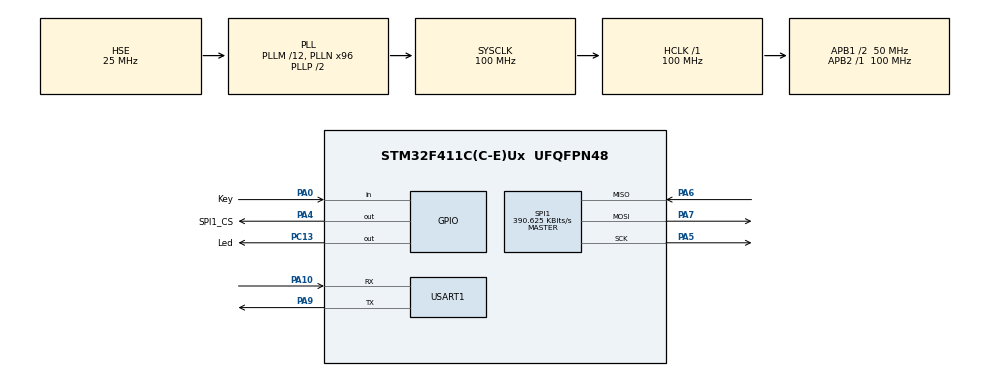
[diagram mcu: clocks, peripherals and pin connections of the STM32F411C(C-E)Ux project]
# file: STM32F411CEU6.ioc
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FREERTOS.Tasks01=defaultTask,24,128,StartDefaultTask,Default,NULL,Dynamic,NULL,NULL
Mcu.Family=STM32F4
Mcu.Name=STM32F411C(C-E)Ux
Mcu.Package=UFQFPN48
NVIC.PriorityGroup=NVIC_PRIORITYGROUP_4
NVIC.TIM1_UP_TIM10_IRQn=true\:15\:0\:false\:false\:true\:false\:false\:true\:true
NVIC.TimeBase=TIM1_UP_TIM10_IRQn
NVIC.TimeBaseIP=TIM1
PA0-WKUP.GPIO_Label=Key
PA0-WKUP.GPIO_PuPd=GPIO_PULLUP
PA0-WKUP.Signal=GPIO_Input
PA10.Mode=Asynchronous
PA10.Signal=USART1_RX
PA13.Mode=Serial_Wire
PA13.Signal=SYS_JTMS-SWDIO
PA14.Mode=Serial_Wire
PA14.Signal=SYS_JTCK-SWCLK
PA4.GPIO_Label=SPI1_CS
PA4.PinState=GPIO_PIN_SET
PA4.Signal=GPIO_Output
PA5.Mode=Full_Duplex_Master
PA5.Signal=SPI1_SCK
PA6.Mode=Full_Duplex_Master
PA6.Signal=SPI1_MISO
PA7.Mode=Full_Duplex_Master
PA7.Signal=SPI1_MOSI
PA9.Mode=Asynchronous
PA9.Signal=USART1_TX
PC13-ANTI_TAMP.GPIO_Label=Led
PC13-ANTI_TAMP.Signal=GPIO_Output
PC14-OSC32_IN.Mode=LSE-External-Oscillator
PC14-OSC32_IN.Signal=RCC_OSC32_IN
PC15-OSC32_OUT.Mode=LSE-External-Oscillator
PC15-OSC32_OUT.Signal=RCC_OSC32_OUT
PH0\ -\ OSC_IN.Mode=HSE-External-Oscillator
PH0\ -\ OSC_IN.Signal=RCC_OSC_IN
PH1\ -\ OSC_OUT.Mode=HSE-External-Oscillator
PH1\ -\ OSC_OUT.Signal=RCC_OSC_OUT
ProjectManager.HeapSize=0x200
ProjectManager.StackSize=0x400
ProjectManager.TargetToolchain=MDK-ARM V5.32
RCC.48MHZClocksFreq_Value=50000000
RCC.AHBFreq_Value=100000000
RCC.APB1CLKDivider=RCC_HCLK_DIV2
RCC.APB1Freq_Value=50000000
RCC.APB1TimFreq_Value=100000000
RCC.APB2Freq_Value=100000000
RCC.APB2TimFreq_Value=100000000
RCC.CortexFreq_Value=100000000
RCC.HCLKFreq_Value=100000000
RCC.HSE_VALUE=25000000
RCC.HSI_VALUE=16000000
RCC.PLLM=12
RCC.PLLN=96
RCC.PLLSourceVirtual=RCC_PLLSOURCE_HSE
RCC.SYSCLKFreq_VALUE=100000000
RCC.SYSCLKSource=RCC_SYSCLKSOURCE_PLLCLK
RCC.VCOOutputFreq_Value=200000000
SPI1.BaudRatePrescaler=SPI_BAUDRATEPRESCALER_256
SPI1.CalculateBaudRate=390.625 KBits/s
SPI1.Direction=SPI_DIRECTION_2LINES
SPI1.Mode=SPI_MODE_MASTER
SPI1.VirtualType=VM_MASTER
USART1.VirtualMode=VM_ASYNC
VP_FREERTOS_VS_CMSIS_V2.Mode=CMSIS_V2
VP_SYS_VS_tim1.Mode=TIM1
board=custom

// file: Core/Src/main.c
/* USER CODE BEGIN Header */
/**
  ******************************************************************************
  * @file           : main.c
  * @brief          : Main program body
  ******************************************************************************
  * @attention
  *
  * Copyright (c) 2026 STMicroelectronics.
  * All rights reserved.
  *
  * This software is licensed under terms that can be found in the LICENSE file
  * in the root directory of this software component.
  * If no LICENSE file comes with this software, it is provided AS-IS.
  *
  ******************************************************************************
  */
/* USER CODE END Header */
#include "main.h"
#include "cmsis_os.h"
#include "spi.h"
#include "usart.h"
#include "gpio.h"

/* USER CODE BEGIN Includes */
#include <stdio.h>

/* USER CODE END Includes */

void SystemClock_Config(void);
void MX_FREERTOS_Init(void);

/* USER CODE BEGIN 0 */

#define TAG "main"

/* USER CODE END 0 */

int main(void)
{

  /* USER CODE BEGIN 1 */
    __enable_irq();
  /* USER CODE END 1 */

  /* MCU Configuration--------------------------------------------------------*/

  /* Reset of all peripherals, Initializes the Flash interface and the Systick. */
  HAL_Init();

  /* Configure the system clock */
  SystemClock_Config();

  /* USER CODE BEGIN SysInit */
    debug_init();
    W25Qx_Init();
  /* USER CODE END SysInit */

  /* Initialize all configured peripherals */
  MX_GPIO_Init();
  MX_USART1_UART_Init();
  MX_SPI1_Init();

  /* Init scheduler */
  osKernelInitialize();  /* Call init function for freertos objects (in cmsis_os2.c) */
  MX_FREERTOS_Init();

  /* Start scheduler */
  osKernelStart();

  /* We should never get here as control is now taken by the scheduler */

  /* Infinite loop */
  while (1)
  {

    /* USER CODE BEGIN 3 */

    elog_i(TAG,"elog TEST!\r\n");
#if 0
      printf("\r\nTEST 1142!\r\n");
      SEGGER_RTT_printf(0,"Hello,SEGGER RTT!\r\n");
#endif

      HAL_Delay(1000);
  }
  /* USER CODE END 3 */
}

void SystemClock_Config(void)
{
  RCC_OscInitTypeDef RCC_OscInitStruct = {0};
  RCC_ClkInitTypeDef RCC_ClkInitStruct = {0};

  /** Configure the main internal regulator output voltage
  */
  __HAL_RCC_PWR_CLK_ENABLE();
  __HAL_PWR_VOLTAGESCALING_CONFIG(PWR_REGULATOR_VOLTAGE_SCALE1);

  /** Initializes the RCC Oscillators according to the specified parameters
  * in the RCC_OscInitTypeDef structure.
  */
  RCC_OscInitStruct.OscillatorType = RCC_OSCILLATORTYPE_HSE;
  RCC_OscInitStruct.HSEState = RCC_HSE_ON;
  RCC_OscInitStruct.PLL.PLLState = RCC_PLL_ON;
  RCC_OscInitStruct.PLL.PLLSource = RCC_PLLSOURCE_HSE;
  RCC_OscInitStruct.PLL.PLLM = 12;
  RCC_OscInitStruct.PLL.PLLN = 96;
  RCC_OscInitStruct.PLL.PLLP = RCC_PLLP_DIV2;
  RCC_OscInitStruct.PLL.PLLQ = 4;
  if (HAL_RCC_OscConfig(&RCC_OscInitStruct) != HAL_OK)
  {
    Error_Handler();
  }

  /** Initializes the CPU, AHB and APB buses clocks
  */
  RCC_ClkInitStruct.ClockType = RCC_CLOCKTYPE_HCLK|RCC_CLOCKTYPE_SYSCLK
                              |RCC_CLOCKTYPE_PCLK1|RCC_CLOCKTYPE_PCLK2;
  RCC_ClkInitStruct.SYSCLKSource = RCC_SYSCLKSOURCE_PLLCLK;
  RCC_ClkInitStruct.AHBCLKDivider = RCC_SYSCLK_DIV1;
  RCC_ClkInitStruct.APB1CLKDivider = RCC_HCLK_DIV2;
  RCC_ClkInitStruct.APB2CLKDivider = RCC_HCLK_DIV1;

  if (HAL_RCC_ClockConfig(&RCC_ClkInitStruct, FLASH_LATENCY_3) != HAL_OK)
  {
    Error_Handler();
  }
}

void HAL_TIM_PeriodElapsedCallback(TIM_HandleTypeDef *htim)
{
  if (htim->Instance == TIM1)
  {
    HAL_IncTick();
  }
}

void Error_Handler(void)
{
  __disable_irq();
  while (1)
  {
  }
}

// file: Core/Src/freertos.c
/* USER CODE BEGIN Header */
/**
  ******************************************************************************
  * File Name          : freertos.c
  * Description        : Code for freertos applications
  ******************************************************************************
  * @attention
  *
  * Copyright (c) 2026 STMicroelectronics.
  * All rights reserved.
  *
  * This software is licensed under terms that can be found in the LICENSE file
  * in the root directory of this software component.
  * If no LICENSE file comes with this software, it is provided AS-IS.
  *
  ******************************************************************************
  */
/* USER CODE END Header */

#include "FreeRTOS.h"
#include "task.h"
#include "main.h"
#include "cmsis_os.h"

/* USER CODE BEGIN Includes */
#include "at24cxx.h"
/* USER CODE END Includes */

/* USER CODE BEGIN PTD */
#define TAG     "freertos"
/* USER CODE END PTD */

/* Definitions for defaultTask */
osThreadId_t defaultTaskHandle;
const osThreadAttr_t defaultTask_attributes = {
  .name = "defaultTask",
  .stack_size = 128 * 4,
  .priority = (osPriority_t) osPriorityNormal,
};

void StartDefaultTask(void *argument);

void MX_FREERTOS_Init(void); /* (MISRA C 2004 rule 8.1) */

void MX_FREERTOS_Init(void) {

  /* Create the thread(s) */
  /* creation of defaultTask */
  defaultTaskHandle = osThreadNew(StartDefaultTask, NULL, &defaultTask_attributes);

}

void StartDefaultTask(void *argument)
{
  /* USER CODE BEGIN StartDefaultTask */
  /* Infinite loop */
  for(;;)
  {
    HAL_GPIO_TogglePin(Led_GPIO_Port,Led_Pin);
#if 0
      elog_i(TAG,"elog TEST 1143!\r\n");
      ee_test();
#endif
#if 1

      uint16_t w25q_id = 0;
      W25Qx_Read_ID(&w25q_id);
      elog_i(TAG,"w25q_id:%X\r\n",w25q_id);
#endif
    osDelay(2000);
  }
  /* USER CODE END StartDefaultTask */
}
